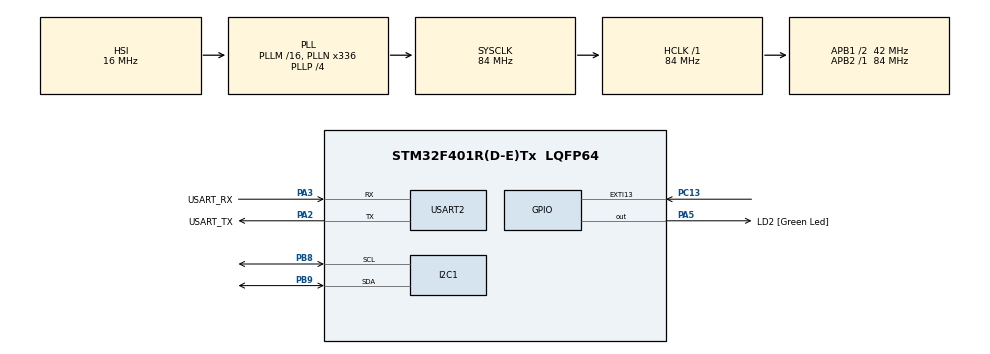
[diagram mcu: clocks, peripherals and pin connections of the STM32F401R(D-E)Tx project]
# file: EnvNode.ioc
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Mcu.Family=STM32F4
Mcu.Name=STM32F401R(D-E)Tx
Mcu.Package=LQFP64
NVIC.PriorityGroup=NVIC_PRIORITYGROUP_4
PA13.GPIO_Label=TMS
PA13.Mode=Trace_Asynchronous_SW
PA13.Signal=SYS_JTMS-SWDIO
PA14.GPIO_Label=TCK
PA14.Mode=Trace_Asynchronous_SW
PA14.Signal=SYS_JTCK-SWCLK
PA2.GPIO_Label=USART_TX
PA2.GPIO_Mode=GPIO_MODE_AF_PP
PA2.GPIO_PuPd=GPIO_NOPULL
PA2.GPIO_Speed=GPIO_SPEED_FREQ_LOW
PA2.Mode=Asynchronous
PA2.Signal=USART2_TX
PA3.GPIO_Label=USART_RX
PA3.GPIO_Mode=GPIO_MODE_AF_PP
PA3.GPIO_PuPd=GPIO_NOPULL
PA3.GPIO_Speed=GPIO_SPEED_FREQ_LOW
PA3.Mode=Asynchronous
PA3.Signal=USART2_RX
PA5.GPIO_Label=LD2 [Green Led]
PA5.GPIO_Mode=GPIO_MODE_OUTPUT_PP
PA5.GPIO_PuPd=GPIO_NOPULL
PA5.GPIO_Speed=GPIO_SPEED_FREQ_LOW
PA5.Signal=GPIO_Output
PB3.GPIO_Label=SWO
PB3.Mode=Trace_Asynchronous_SW
PB3.Signal=SYS_JTDO-SWO
PB8.Mode=I2C
PB8.Signal=I2C1_SCL
PB9.Mode=I2C
PB9.Signal=I2C1_SDA
PC13-ANTI_TAMP.GPIO_ModeDefaultEXTI=GPIO_MODE_IT_RISING
PC13-ANTI_TAMP.GPIO_PuPd=GPIO_PULLDOWN
PC13-ANTI_TAMP.Signal=GPXTI13
PC14-OSC32_IN.Mode=LSE-External-Oscillator
PC14-OSC32_IN.Signal=RCC_OSC32_IN
PC15-OSC32_OUT.Mode=LSE-External-Oscillator
PC15-OSC32_OUT.Signal=RCC_OSC32_OUT
PH0\ -\ OSC_IN.Mode=HSE-External-Clock-Source
PH0\ -\ OSC_IN.Signal=RCC_OSC_IN
PH1\ -\ OSC_OUT.Mode=HSE-External-Clock-Source
PH1\ -\ OSC_OUT.Signal=RCC_OSC_OUT
ProjectManager.HeapSize=0x200
ProjectManager.StackSize=0x400
ProjectManager.TargetToolchain=STM32CubeIDE
RCC.48MHZClocksFreq_Value=48000000
RCC.AHBFreq_Value=84000000
RCC.APB1CLKDivider=RCC_HCLK_DIV2
RCC.APB1Freq_Value=42000000
RCC.APB1TimFreq_Value=84000000
RCC.APB2Freq_Value=84000000
RCC.APB2TimFreq_Value=84000000
RCC.CortexFreq_Value=84000000
RCC.HCLKFreq_Value=84000000
RCC.HSE_VALUE=8000000
RCC.HSI_VALUE=16000000
RCC.PLLN=336
RCC.PLLP=RCC_PLLP_DIV4
RCC.PLLQ=7
RCC.SYSCLKFreq_VALUE=84000000
RCC.SYSCLKSource=RCC_SYSCLKSOURCE_PLLCLK
RCC.VCOOutputFreq_Value=336000000
USART2.VirtualMode=VM_ASYNC
board=NUCLEO-F401RE

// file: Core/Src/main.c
/* USER CODE BEGIN Header */
/**
  ******************************************************************************
  * @file           : main.c
  * @brief          : Main program body
  ******************************************************************************
  * @attention
  *
  * Copyright (c) 2025 STMicroelectronics.
  * All rights reserved.
  *
  * This software is licensed under terms that can be found in the LICENSE file
  * in the root directory of this software component.
  * If no LICENSE file comes with this software, it is provided AS-IS.
  *
  ******************************************************************************
  */
/* USER CODE END Header */
#include "main.h"

/* USER CODE BEGIN Includes */
#include "gpio.h"
#include "i2c.h"
#include "bmp280.h"
#include "usart.h"
#include <stdio.h>
#include <string.h>
/* USER CODE END Includes */

void SystemClock_Config(void);

int main(void)
{

  /* MCU Configuration--------------------------------------------------------*/

  /* Reset of all peripherals, Initializes the Flash interface and the Systick. */
  HAL_Init();

  /* Configure the system clock */
  SystemClock_Config();

  /* Initialize all configured peripherals */
  MX_GPIO_Init();
  MX_USART2_UART_Init();
  MX_I2C1_Init();
  /* USER CODE BEGIN 2 */
  BMP280_Data sensorData;

  if (BMP280_Init(&hi2c1) != HAL_OK) {
	  Error_Handler();
  }
  /* USER CODE END 2 */

  /* Infinite loop */
  /* USER CODE BEGIN WHILE */
  while (1)
  {
	  // GPIO
	  HAL_GPIO_TogglePin(GPIOA, GPIO_PIN_5);
	  HAL_Delay(500);

	  // BMP280
	  if (BMP280_Read(&hi2c1, &sensorData) == HAL_OK) {
		  // convert and print using UART
		  char msg[64];
		  snprintf(msg, sizeof(msg), "Temp: %.2f C Pressure: %.2f hPa\r\n", sensorData.temperature, sensorData.pressure);
		  HAL_UART_Transmit(&huart2, (uint8_t*)msg, strlen(msg), HAL_MAX_DELAY);
	  }

	  HAL_Delay(1000); // 1 second delay between reads

    /* USER CODE END WHILE */

  }
}

void SystemClock_Config(void)
{
  RCC_OscInitTypeDef RCC_OscInitStruct = {0};
  RCC_ClkInitTypeDef RCC_ClkInitStruct = {0};

  /** Configure the main internal regulator output voltage
  */
  __HAL_RCC_PWR_CLK_ENABLE();
  __HAL_PWR_VOLTAGESCALING_CONFIG(PWR_REGULATOR_VOLTAGE_SCALE2);

  /** Initializes the RCC Oscillators according to the specified parameters
  * in the RCC_OscInitTypeDef structure.
  */
  RCC_OscInitStruct.OscillatorType = RCC_OSCILLATORTYPE_HSI;
  RCC_OscInitStruct.HSIState = RCC_HSI_ON;
  RCC_OscInitStruct.HSICalibrationValue = RCC_HSICALIBRATION_DEFAULT;
  RCC_OscInitStruct.PLL.PLLState = RCC_PLL_ON;
  RCC_OscInitStruct.PLL.PLLSource = RCC_PLLSOURCE_HSI;
  RCC_OscInitStruct.PLL.PLLM = 16;
  RCC_OscInitStruct.PLL.PLLN = 336;
  RCC_OscInitStruct.PLL.PLLP = RCC_PLLP_DIV4;
  RCC_OscInitStruct.PLL.PLLQ = 7;
  if (HAL_RCC_OscConfig(&RCC_OscInitStruct) != HAL_OK)
  {
    Error_Handler();
  }

  /** Initializes the CPU, AHB and APB buses clocks
  */
  RCC_ClkInitStruct.ClockType = RCC_CLOCKTYPE_HCLK|RCC_CLOCKTYPE_SYSCLK
                              |RCC_CLOCKTYPE_PCLK1|RCC_CLOCKTYPE_PCLK2;
  RCC_ClkInitStruct.SYSCLKSource = RCC_SYSCLKSOURCE_PLLCLK;
  RCC_ClkInitStruct.AHBCLKDivider = RCC_SYSCLK_DIV1;
  RCC_ClkInitStruct.APB1CLKDivider = RCC_HCLK_DIV2;
  RCC_ClkInitStruct.APB2CLKDivider = RCC_HCLK_DIV1;

  if (HAL_RCC_ClockConfig(&RCC_ClkInitStruct, FLASH_LATENCY_2) != HAL_OK)
  {
    Error_Handler();
  }
}

void Error_Handler(void)
{
  __disable_irq();
  while (1)
  {
  }
}
